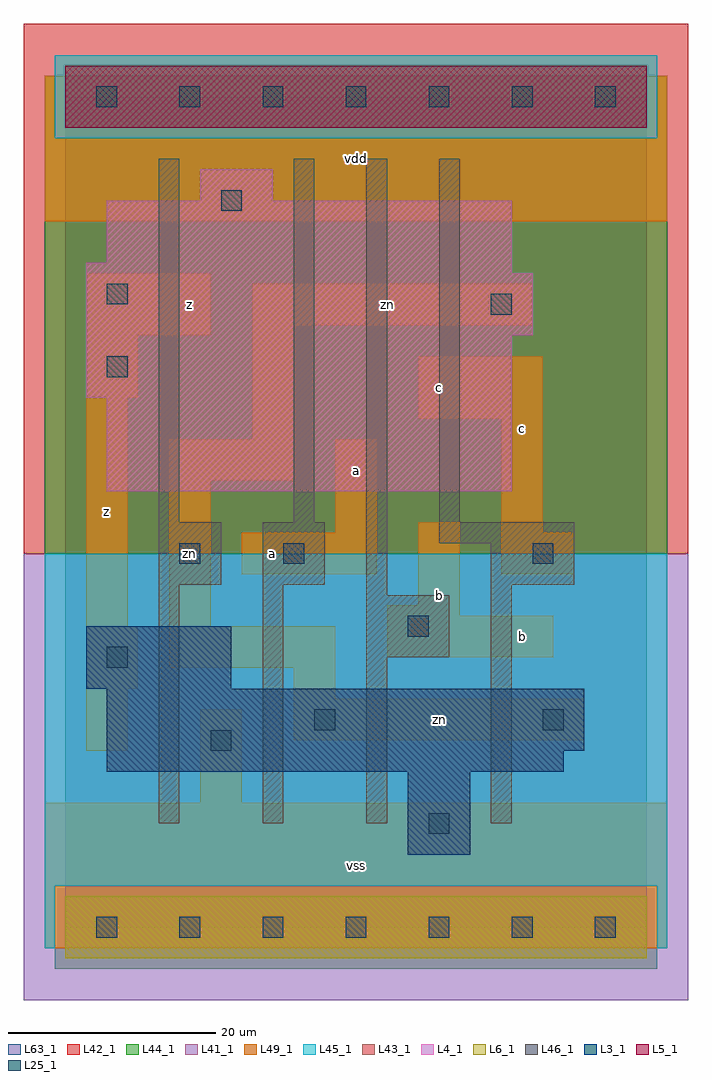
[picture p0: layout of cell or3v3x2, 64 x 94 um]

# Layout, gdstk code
import gdstk
lib = gdstk.Library(unit=1e-6, precision=1e-09)
def R(c, l, rs):  # rectangles x0, y0, x1, y1
    for r in rs: c.add(gdstk.rectangle(r[:2], r[2:], *l))
def A(c, l, x, y, w, h, nx, ny, dx, dy):  # array of equal rectangles
    R(c, l, [(x+i*dx, y+j*dy, x+i*dx+w, y+j*dy+h) for i in range(nx) for j in range(ny)])
L3_1 = (3, 1)
L4_1 = (4, 1)
L5_1 = (5, 1)
L6_1 = (6, 1)
L25_1 = (25, 1)
L41_1 = (41, 1)
L42_1 = (42, 1)
L43_1 = (43, 1)
L44_1 = (44, 1)
L45_1 = (45, 1)
L46_1 = (46, 1)
L49_1 = (49, 1)
L63_1 = (63, 1)

or3v3x2 = lib.new_cell('or3v3x2')
R(or3v3x2, L3_1, [(33,7,39,15), (4,15,48,17), (4,17,50,23), (2,23,16,29)])
R(or3v3x2, L4_1, [(4,42,43,51), (2,51,43,57), (2,57,45,63), (2,63,43,64), (4,64,43,70), (13,70,20,73)])
R(or3v3x2, L5_1, [(0,77,56,83)])
R(or3v3x2, L6_1, [(0,-3,56,3), (0,-3,56,3)])
A(or3v3x2, L25_1, 3, -1, 2, 2, 7, 2, 8, 80)
R(or3v3x2, L25_1, [(35,9,37,11), (14,17,16,19), (24,19,26,21), (46,19,48,21), (4,25,6,27), (33,28,35,30), (11,35,13,37), (21,35,23,37), (45,35,47,37), (4,53,6,55), (41,59,43,61), (4,60,6,62), (15,69,17,71)])
R(or3v3x2, L41_1, [(-4,-7,60,36)])
R(or3v3x2, L42_1, [(-4,36,60,87)])
R(or3v3x2, L43_1, [(0,-3,56,3), (33,7,39,15), (4,15,48,17), (4,17,50,23), (2,23,16,29), (4,42,43,51), (2,51,43,57), (2,57,45,63), (2,63,43,64), (4,64,43,70), (13,70,20,73), (0,77,56,83)])
R(or3v3x2, L44_1, [(-1,-4,57,4), (-2,36,58,76), (-2,76,-1,82), (57,76,58,82)])
R(or3v3x2, L45_1, [(-2,-2,-1,4), (57,-2,58,4), (-2,4,58,36), (-1,76,57,84)])
R(or3v3x2, L46_1, [(9,10,11,33), (19,10,21,33), (29,10,31,26), (41,10,43,33), (29,26,37,32), (29,32,31,74), (9,33,15,39), (19,33,25,39), (41,33,49,37), (36,37,49,39), (9,39,11,74), (22,39,24,74), (36,39,38,74)])
R(or3v3x2, L49_1, [(-2,-2,58,12), (13,12,17,21), (2,17,6,23), (22,18,50,22), (22,22,26,25), (2,23,7,29), (10,25,26,29), (31,26,47,30), (2,29,6,51), (10,29,14,43), (31,30,38,31), (34,31,38,39), (17,34,30,38), (42,34,49,38), (26,38,30,47), (42,38,46,49), (10,43,22,47), (18,47,22,58), (34,49,46,55), (2,51,7,57), (2,57,14,63), (18,58,45,62), (-2,68,58,82)])
R(or3v3x2, L63_1, [(0,0,56,80)])
or3v3x2.add(gdstk.Label('zn', (12,36), layer=49, texttype=1))
or3v3x2.add(gdstk.Label('z', (4,40), layer=49, texttype=1))
or3v3x2.add(gdstk.Label('a', (20,36), layer=49, texttype=1))
or3v3x2.add(gdstk.Label('zn', (12,36), layer=49, texttype=1))
or3v3x2.add(gdstk.Label('z', (12,60), layer=49, texttype=1))
or3v3x2.add(gdstk.Label('vss', (28,6), layer=49, texttype=1))
or3v3x2.add(gdstk.Label('b', (36,32), layer=49, texttype=1))
or3v3x2.add(gdstk.Label('a', (28,44), layer=49, texttype=1))
or3v3x2.add(gdstk.Label('c', (36,52), layer=49, texttype=1))
or3v3x2.add(gdstk.Label('vdd', (28,74), layer=49, texttype=1))
or3v3x2.add(gdstk.Label('zn', (36,20), layer=49, texttype=1))
or3v3x2.add(gdstk.Label('b', (44,28), layer=49, texttype=1))
or3v3x2.add(gdstk.Label('c', (44,48), layer=49, texttype=1))
or3v3x2.add(gdstk.Label('zn', (31,60), layer=49, texttype=1))

lib.write_gds('or3v3x2.gds')
